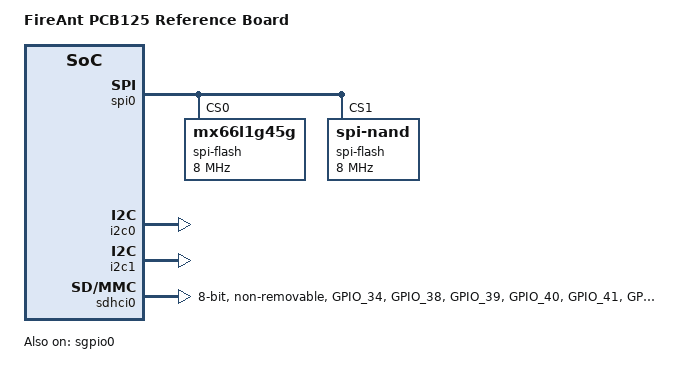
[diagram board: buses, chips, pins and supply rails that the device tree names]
// SPDX-License-Identifier: (GPL-2.0+ OR MIT)
/*
 * Copyright (c) 2018 Microsemi Corporation
  */

/dts-v1/;
#include "fireant_pcb_common.dtsi"

/ {
	model = "FireAnt PCB125 Reference Board";
	compatible = "mscc,fireant-pcb125", "mscc,fireant";

	memory@0 {
		device_type = "memory";
		reg = <0x00000000 0x00000000 0x10000000>;
	};
};

&spi0 {
	status = "okay";
	spi-flash@0 {
		compatible = "mx66l1g45g", "jedec,spi-nor";
		spi-max-frequency = <8000000>; /* input clock */
		reg = <0>; /* CS0 */
	};
        spi-flash@1 {
		compatible = "spi-nand";
		pinctrl-0 = <&cs1_pins>;
		pinctrl-names = "default";
		spi-max-frequency = <8000000>;
		reg = <1>; /* CS1 */
	};
};

&sgpio0 {
	status = "okay";
	mscc,sgpio-ports = <0x00FFFFFF>;
};

&i2c0 {
	status = "okay";
};

&i2c1 {
	status = "okay";
};

&gpio {
	emmc_pins: emmc-pins {
		// NB: No "GPIO_35", "GPIO_36", "GPIO_37"
		// (N/A: CARD_nDETECT, CARD_WP, CARD_LED)
		pins = "GPIO_34", "GPIO_38", "GPIO_39",
			"GPIO_40", "GPIO_41", "GPIO_42",
			"GPIO_43", "GPIO_44", "GPIO_45",
			"GPIO_46", "GPIO_47";
		drive-strength = <3>;
		function = "emmc";
	};
};

&sdhci0 {
	status = "okay";
	bus-width = <8>;
	non-removable;
	pinctrl-0 = <&emmc_pins>;
	max-frequency = <8000000>;
	mscc,clock-delay = <10>;
};
